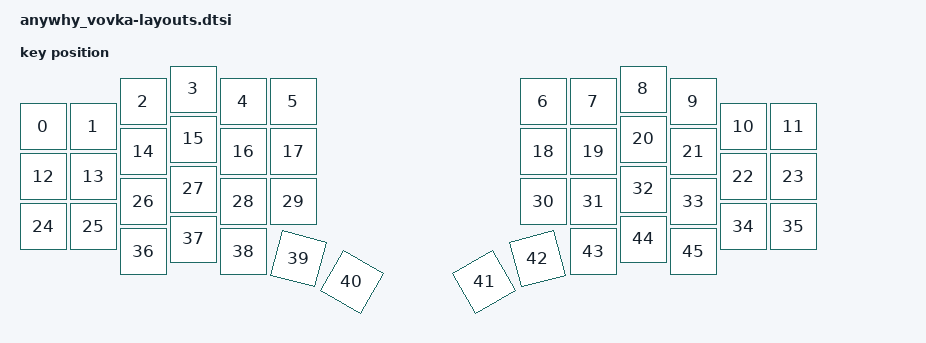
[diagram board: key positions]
// See https://zmk.dev/docs/development/hardware-integration/physical-layouts
// for how to configure this.

#include <physical_layouts.dtsi>

/ {
    default_layout: default_layout {
        compatible = "zmk,physical-layout";
        display-name = "Default Layout";
        transform = <&default_transform>;
        kscan = <&kscan>;

        // Edit this to define the positions and sizes of the keys, or remove it
        // if your keyboard will not support ZMK Studio.
        // https://zmk.dev/docs/development/hardware-integration/physical-layouts#optional-keys-property
        keys  //                     w   h    x    y     rot    rx    ry
            = <&key_physical_attrs 100 100    0   75       0     0     0>
            , <&key_physical_attrs 100 100  100   75       0     0     0>
            , <&key_physical_attrs 100 100  200   25       0     0     0>
            , <&key_physical_attrs 100 100  300    0       0     0     0>
            , <&key_physical_attrs 100 100  400   25       0     0     0>
            , <&key_physical_attrs 100 100  500   25       0     0     0>
            , <&key_physical_attrs 100 100 1000   25       0     0     0>
            , <&key_physical_attrs 100 100 1100   25       0     0     0>
            , <&key_physical_attrs 100 100 1200    0       0     0     0>
            , <&key_physical_attrs 100 100 1300   25       0     0     0>
            , <&key_physical_attrs 100 100 1400   75       0     0     0>
            , <&key_physical_attrs 100 100 1500   75       0     0     0>
            , <&key_physical_attrs 100 100    0  175       0     0     0>
            , <&key_physical_attrs 100 100  100  175       0     0     0>
            , <&key_physical_attrs 100 100  200  125       0     0     0>
            , <&key_physical_attrs 100 100  300  100       0     0     0>
            , <&key_physical_attrs 100 100  400  125       0     0     0>
            , <&key_physical_attrs 100 100  500  125       0     0     0>
            , <&key_physical_attrs 100 100 1000  125       0     0     0>
            , <&key_physical_attrs 100 100 1100  125       0     0     0>
            , <&key_physical_attrs 100 100 1200  100       0     0     0>
            , <&key_physical_attrs 100 100 1300  125       0     0     0>
            , <&key_physical_attrs 100 100 1400  175       0     0     0>
            , <&key_physical_attrs 100 100 1500  175       0     0     0>
            , <&key_physical_attrs 100 100    0  275       0     0     0>
            , <&key_physical_attrs 100 100  100  275       0     0     0>
            , <&key_physical_attrs 100 100  200  225       0     0     0>
            , <&key_physical_attrs 100 100  300  200       0     0     0>
            , <&key_physical_attrs 100 100  400  225       0     0     0>
            , <&key_physical_attrs 100 100  500  225       0     0     0>
            , <&key_physical_attrs 100 100 1000  225       0     0     0>
            , <&key_physical_attrs 100 100 1100  225       0     0     0>
            , <&key_physical_attrs 100 100 1200  200       0     0     0>
            , <&key_physical_attrs 100 100 1300  225       0     0     0>
            , <&key_physical_attrs 100 100 1400  275       0     0     0>
            , <&key_physical_attrs 100 100 1500  275       0     0     0>
            , <&key_physical_attrs 100 100  200  325       0     0     0>
            , <&key_physical_attrs 100 100  300  300       0     0     0>
            , <&key_physical_attrs 100 100  400  325       0     0     0>
            , <&key_physical_attrs 100 100  500  325    1500   500   425>
            , <&key_physical_attrs 100 100  600  370    3000   630   460>
            , <&key_physical_attrs 100 100  900  370 (-3000)   970   460>
            , <&key_physical_attrs 100 100 1000  325 (-1500)  1100   425>
            , <&key_physical_attrs 100 100 1100  325       0     0     0>
            , <&key_physical_attrs 100 100 1200  300       0     0     0>
            , <&key_physical_attrs 100 100 1300  325       0     0     0>
            ;
    };


    position_map {
        compatible = "zmk,physical-layout-position-map";
        complete;

        default_layout {
            physical-layout = <&default_layout>;
            positions
                = <46 47 48 49 50 51 52 53 54 55 56 57>
                , < 0  1  2  3  4  5  6  7  8  9 10 11>
                , <12 13 14 15 16 17 18 19 20 21 22 23>
                , <24 25 26 27 28 29 30 31 32 33 34 35>
                , <   36 37 38 39 40 41 42 43 44 45   >
                ;
        };

    };

};
